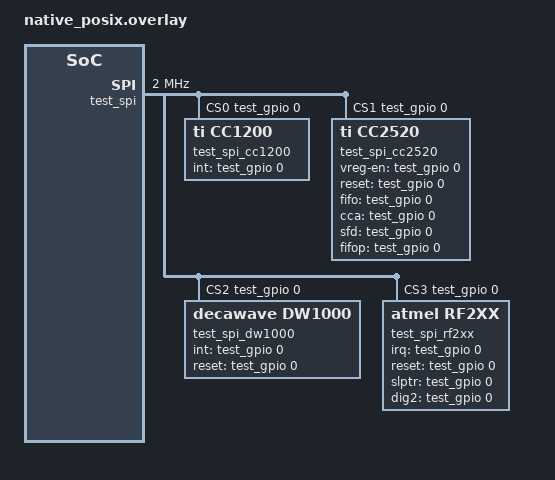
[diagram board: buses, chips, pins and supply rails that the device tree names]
/*
 * Copyright (c) 2021, Commonwealth Scientific and Industrial Research
 * Organisation (CSIRO) ABN 41 687 119 230.
 *
 * SPDX-License-Identifier: Apache-2.0
 */

/ {
	test {
		#address-cells = <1>;
		#size-cells = <1>;

		test_gpio: gpio@deadbeef {
			compatible = "vnd,gpio";
			gpio-controller;
			reg = <0xdeadbeef 0x1000>;
			#gpio-cells = <0x2>;
			status = "okay";
		};

		test_spi: spi@33334444 {
			#address-cells = <1>;
			#size-cells = <0>;
			compatible = "vnd,spi";
			reg = <0x33334444 0x1000>;
			status = "okay";
			clock-frequency = <2000000>;

			/* one entry for every SPI device */
			cs-gpios = <&test_gpio 0 0>,
				   <&test_gpio 0 0>,
				   <&test_gpio 0 0>,
				   <&test_gpio 0 0>;

			test_spi_cc1200: cc1200@0 {
				compatible = "ti,cc1200";
				reg = <0x0>;
				spi-max-frequency = <0>;
				int-gpios = <&test_gpio 0 0>;
				status= "okay";
			};

			test_spi_cc2520: cc2520@1 {
				compatible = "ti,cc2520";
				reg = <0x1>;
				spi-max-frequency = <0>;
				vreg-en-gpios = <&test_gpio 0 0>;
				reset-gpios = <&test_gpio 0 0>;
				fifo-gpios = <&test_gpio 0 0>;
				cca-gpios = <&test_gpio 0 0>;
				sfd-gpios = <&test_gpio 0 0>;
				fifop-gpios = <&test_gpio 0 0>;
				status= "okay";

				crypto {
					compatible = "ti,cc2520-crypto";
					status= "okay";
				};
			};

			test_spi_dw1000: dw1000@2 {
				compatible = "decawave,dw1000";
				reg = <0x2>;
				spi-max-frequency = <0>;
				int-gpios = <&test_gpio 0 0>;
				reset-gpios =<&test_gpio 0 0>;
				status= "okay";
			};

			test_spi_rf2xx: rf2xx@3 {
				compatible = "atmel,rf2xx";
				reg = <0x3>;
				spi-max-frequency = <0>;
				irq-gpios = <&test_gpio 0 0>;
				reset-gpios = <&test_gpio 0 0>;
				slptr-gpios = <&test_gpio 0 0>;
				dig2-gpios = <&test_gpio 0 0>;
				status = "okay";
			};
		};
	};
};
